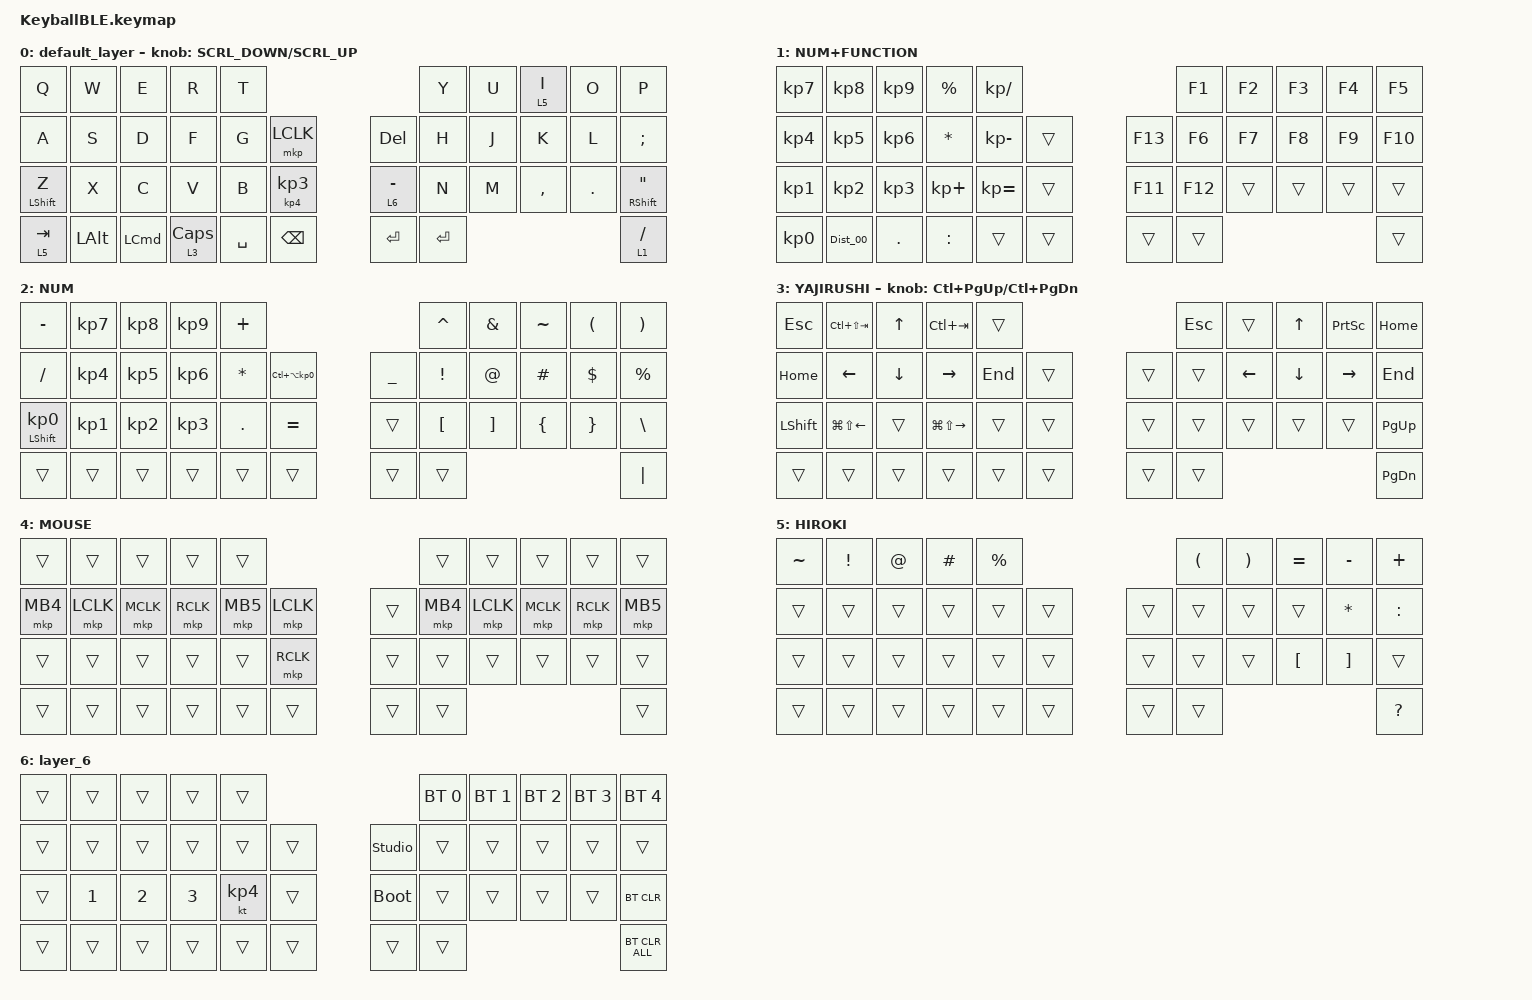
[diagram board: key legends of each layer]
#define ZMK_POINTING_DEFAULT_SCRL_VAL 120    // default: 10

#include <behaviors.dtsi>
#include <dt-bindings/zmk/bt.h>
#include <dt-bindings/zmk/keys.h>
#include <dt-bindings/zmk/pointing.h>

#define MOUSE 4
#define SCROLL 5
#define NUM 6

&mt {
    flavor = "balanced";
    quick-tap-ms = <0>;
};

/ {
    combos {
        compatible = "zmk,combos";

        double_quotation {
            bindings = <&kp DOUBLE_QUOTES>;
            key-positions = <20 21>;
        };

        Esc_Q+W {
            bindings = <&kp ESC>;
            key-positions = <0 1>;
        };

        Caps_R+T {
            bindings = <&kp CAPS>;
            key-positions = <3 4>;
        };

        Ctrl_hidarishita {
            bindings = <&kp LEFT_CONTROL>;
            key-positions = <34 35>;
        };
    };

    macros {
        to_layer_0: to_layer_0 {
            compatible = "zmk,behavior-macro-one-param";
            #binding-cells = <1>;
            bindings = <&to 0 &macro_param_1to1 &kp MACRO_PLACEHOLDER>;
            label = "TO_LAYER_0";
        };

        Dist_00: Dist_00 {
            compatible = "zmk,behavior-macro";
            #binding-cells = <0>;
            bindings = <&kp KP_NUMBER_0 &kp KP_NUMBER_0>;
            label = "DIST_00";
        };
    };

    behaviors {
        lt_to_layer_0: lt_to_layer_0 {
            compatible = "zmk,behavior-hold-tap";
            label = "LAYER_TAP_TO_0";
            bindings = <&mo>, <&to_layer_0>;

            #binding-cells = <2>;
            tapping-term-ms = <200>;
        };

        ROTATE: ROTATE {
            compatible = "zmk,behavior-sensor-rotate-var";
            label = "ROTATE";
            #sensor-binding-cells = <2>;
            bindings = <&msc>, <&msc>;

            tap-ms = <20>;
        };
    };

    keymap {
        compatible = "zmk,keymap";

        default_layer {
            bindings = <
&kp Q             &kp W         &kp E             &kp R                      &kp T                                                    &kp Y      &kp U  &lt 5 I    &kp O    &kp P
&kp A             &kp S         &kp D             &kp F                      &kp G      &mkp LCLK                        &kp DELETE   &kp H      &kp J  &kp K      &kp L    &kp SEMICOLON
&mt LEFT_SHIFT Z  &kp X         &kp C             &kp V                      &kp B      &mt KP_NUMBER_4 KP_NUMBER_3      &lt 6 MINUS  &kp N      &kp M  &kp COMMA  &kp DOT  &mt RIGHT_SHIFT DOUBLE_QUOTES
&lt 5 TAB         &kp LEFT_ALT  &kp LEFT_COMMAND  &lt_to_layer_0 3 CAPSLOCK  &kp SPACE  &kp BACKSPACE                    &kp ENTER    &kp ENTER                             &lt 1 SLASH
            >;

            sensor-bindings = <&ROTATE SCRL_DOWN SCRL_UP>;
        };

        NUM+FUNCTION {
            bindings = <
&kp KP_NUMBER_7  &kp KP_NUMBER_8  &kp KP_NUMBER_9  &kp PERCENT  &kp KP_DIVIDE                       &kp F1   &kp F2  &kp F3  &kp F4  &kp F5
&kp KP_NUMBER_4  &kp KP_NUMBER_5  &kp KP_NUMBER_6  &kp ASTRK    &kp KP_MINUS   &trans      &kp F13  &kp F6   &kp F7  &kp F8  &kp F9  &kp F10
&kp KP_NUMBER_1  &kp KP_NUMBER_2  &kp KP_NUMBER_3  &kp KP_PLUS  &kp KP_EQUAL   &trans      &kp F11  &kp F12  &trans  &trans  &trans  &trans
&kp KP_NUMBER_0  &Dist_00         &kp PERIOD       &kp COLON    &trans         &trans      &trans   &trans                           &trans
            >;
        };

        NUM {
            bindings = <
&kp MINUS                   &kp KP_NUMBER_7  &kp KP_NUMBER_8  &kp KP_NUMBER_9  &kp PLUS                                                   &kp CARET         &kp AMPERSAND      &kp TILDE       &kp LEFT_PARENTHESIS  &kp RIGHT_PARENTHESIS
&kp SLASH                   &kp KP_NUMBER_4  &kp KP_NUMBER_5  &kp KP_NUMBER_6  &kp ASTERISK  &kp LC(LA(KP_NUMBER_0))      &kp UNDERSCORE  &kp EXCLAMATION   &kp AT_SIGN        &kp HASH        &kp DOLLAR            &kp PERCENT
&mt LEFT_SHIFT KP_NUMBER_0  &kp KP_NUMBER_1  &kp KP_NUMBER_2  &kp KP_NUMBER_3  &kp PERIOD    &kp EQUAL                    &trans          &kp LEFT_BRACKET  &kp RIGHT_BRACKET  &kp LEFT_BRACE  &kp RIGHT_BRACE       &kp BACKSLASH
&trans                      &trans           &trans           &trans           &trans        &trans                       &trans          &trans                                                                     &kp PIPE
            >;
        };

        YAJIRUSHI {
            bindings = <
&kp ESCAPE      &kp LC(LS(TAB))         &kp UP_ARROW    &kp LC(TAB)              &trans                       &kp ESC  &trans    &kp UP    &kp PSCRN  &kp HOME
&kp HOME        &kp LEFT_ARROW          &kp DOWN_ARROW  &kp RIGHT_ARROW          &kp END  &trans      &trans  &trans   &kp LEFT  &kp DOWN  &kp RIGHT  &kp END
&kp LEFT_SHIFT  &kp LG(LS(LEFT_ARROW))  &trans          &kp LG(LS(RIGHT_ARROW))  &trans   &trans      &trans  &trans   &trans    &trans    &trans     &kp PAGE_UP
&trans          &trans                  &trans          &trans                   &trans   &trans      &trans  &trans                                  &kp PG_DN
            >;

            sensor-bindings = <&inc_dec_kp LC(PAGE_UP) LC(PAGE_DOWN)>;
        };

        MOUSE {
            bindings = <
&trans    &trans     &trans     &trans     &trans                           &trans    &trans     &trans     &trans     &trans
&mkp MB4  &mkp LCLK  &mkp MCLK  &mkp RCLK  &mkp MB5  &mkp LCLK      &trans  &mkp MB4  &mkp LCLK  &mkp MCLK  &mkp RCLK  &mkp MB5
&trans    &trans     &trans     &trans     &trans    &mkp RCLK      &trans  &trans    &trans     &trans     &trans     &trans
&trans    &trans     &trans     &trans     &trans    &trans         &trans  &trans                                     &trans
            >;
        };

        HIROKI {
            bindings = <
&kp TILDE  &kp EXCL  &kp AT  &kp HASH  &kp PRCNT                      &kp LPAR  &kp RPAR  &kp EQUAL         &kp MINUS          &kp PLUS
&trans     &trans    &trans  &trans    &trans     &trans      &trans  &trans    &trans    &trans            &kp ASTERISK       &kp COLON
&trans     &trans    &trans  &trans    &trans     &trans      &trans  &trans    &trans    &kp LEFT_BRACKET  &kp RIGHT_BRACKET  &trans
&trans     &trans    &trans  &trans    &trans     &trans      &trans  &trans                                                   &kp QUESTION
            >;
        };

        layer_6 {
            bindings = <
&trans  &trans        &trans        &trans        &trans                                 &bt BT_SEL 0  &bt BT_SEL 1  &bt BT_SEL 2  &bt BT_SEL 3  &bt BT_SEL 4
&trans  &trans        &trans        &trans        &trans     &trans      &studio_unlock  &trans        &trans        &trans        &trans        &trans
&trans  &kp NUMBER_1  &kp NUMBER_2  &kp NUMBER_3  &kt KP_N4  &trans      &bootloader     &trans        &trans        &trans        &trans        &bt BT_CLR
&trans  &trans        &trans        &trans        &trans     &trans      &trans          &trans                                                  &bt BT_CLR_ALL
            >;
        };
    };
};
